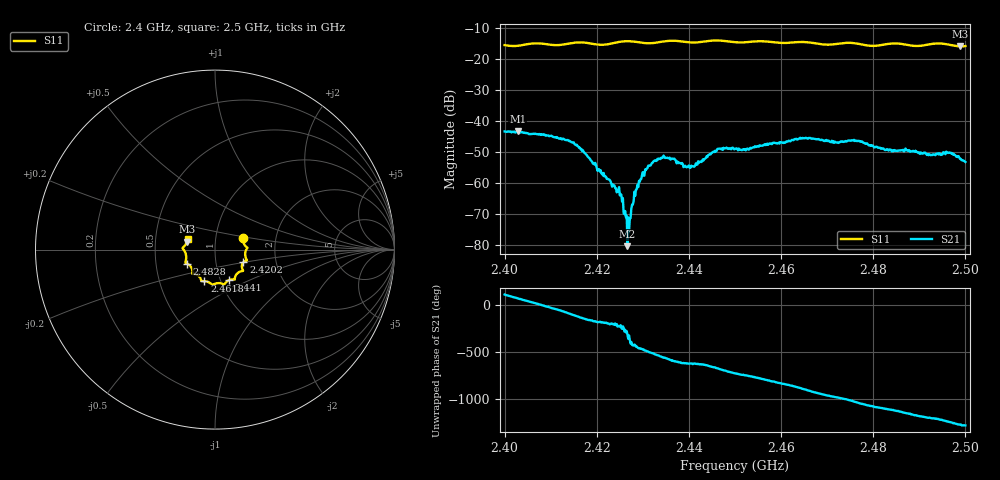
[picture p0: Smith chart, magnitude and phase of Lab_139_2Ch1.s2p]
# Hz S RI R 50
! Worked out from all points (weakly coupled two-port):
!   601 points, 2.4 GHz to 2.5 GHz, reference 50 ohm
!   highest |S21| = -43.30 dB at 2.4028 GHz (marker M1); lowest = -80.5 dB at 2.4267 GHz (marker M2)
!   lowest |S11| = -15.8 dB at 2.4988 GHz (marker M3), VSWR 1.39, Z = 36.4 + j3.29 ohm
!   |S11| at or under -10 dB: start of sweep to end of sweep
!   S12 and S22 are empty: the file has one direction only
!   S11 on the Smith chart (normalised r, x): 2.4 GHz: 1.36, +0.18; 2.4202 GHz: 1.36, -0.20; 2.441 GHz: 1.10, -0.39; 2.4618 GHz: 0.84, -0.30; 2.4828 GHz: 0.72, -0.12; 2.5 GHz: 0.73, +0.09
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2.4e9  0.1575 0.0627  -0.00285 0.00618  0 0  0 0
2.402833e9  0.1628 0.0296  0.00183 0.00659  0 0  0 0
2.413167e9  0.1704 -0.0417  0.00129 -0.00479  0 0  0 0
2.416667e9  0.1777 -0.0601  -0.00252 -0.00249  0 0  0 0
2.420167e9  0.1581 -0.0707  -0.00157 4.97e-05  0 0  0 0
2.425167e9  0.1551 -0.1141  -0.000552 0.000366  0 0  0 0
2.426667e9  0.157 -0.1181  6.72e-05 6.68e-05  0 0  0 0
2.427167e9  0.1559 -0.1184  0.000261 -4.97e-05  0 0  0 0
2.428e9  0.1525 -0.119  0.000157 -0.000485  0 0  0 0
2.429667e9  0.1396 -0.1226  -0.000297 -0.00112  0 0  0 0
2.433333e9  0.1122 -0.1511  -0.00239 -0.000162  0 0  0 0
2.441e9  0.0784 -0.1696  -0.000147 0.00182  0 0  0 0
2.446667e9  0.0493 -0.195  0.00286 0.00216  0 0  0 0
2.45e9  0.0285 -0.1869  0.00352 -0.000553  0 0  0 0
2.461833e9  -0.0594 -0.1759  -0.00343 -0.0033  0 0  0 0
2.466667e9  -0.0778 -0.168  -0.00472 0.00211  0 0  0 0
2.477167e9  -0.126 -0.1229  0.00411 0.00219  0 0  0 0
2.482833e9  -0.1575 -0.0776  0.00303 -0.00165  0 0  0 0
2.483333e9  -0.1606 -0.0764  0.00276 -0.00189  0 0  0 0
2.496333e9  -0.1723 0.0177  -0.00298 -0.00067  0 0  0 0
2.498833e9  -0.1557 0.044  -0.00234 0.000714  0 0  0 0
2.5e9  -0.1519 0.0611  -0.00196 0.000966  0 0  0 0
